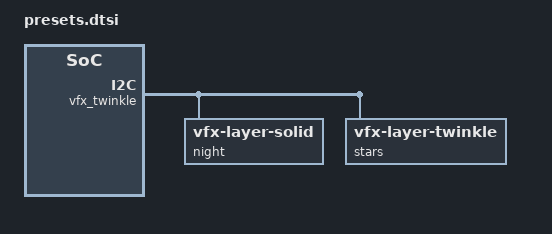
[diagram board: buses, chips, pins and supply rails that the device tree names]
/*
 * Copyright (c) 2026 The ZMK VFX Contributors
 *
 * SPDX-License-Identifier: MIT
 *
 * Ready-made scenes, so VFX is usable without authoring any devicetree.
 *
 *   #include <vfx/presets.dtsi>
 *
 *   &vfx_engine {
 *       status = "okay";
 *       default-scene = <&vfx_aurora>;
 *   };
 *
 * Zones and scenes are matched by compatible wherever they sit in the tree,
 * so these do not need to live under the engine node.
 *
 * vfx_all covers the whole strip: zone lengths are clamped to the actual
 * chain-length at runtime, so 255 means "as many pixels as this board has"
 * and the same preset works on a 10 pixel board and a 72 pixel one.
 */

#include <dt-bindings/zmk/vfx.h>

/ {
    vfx_presets {
        vfx_zones {
            vfx_all: vfx_all {
                compatible = "zmk,vfx-zone";
                range = <0 255>;
            };
        };

        vfx_solid_warm: vfx_solid_warm {
            compatible = "zmk,vfx-scene";
            display-name = "Warm";

            base {
                compatible = "zmk,vfx-layer-solid";
                zone = <&vfx_all>;
                color = <VFX_HSB(30, 85, 100)>;
            };
        };

        vfx_aurora: vfx_aurora {
            compatible = "zmk,vfx-scene";
            display-name = "Aurora";

            base {
                compatible = "zmk,vfx-layer-gradient";
                zone = <&vfx_all>;
                stops = <VFX_HSB(200, 100, 40) VFX_HSB(280, 100, 60) VFX_HSB(160, 90, 50)>;
                scroll-speed = <8>;
            };
        };

        vfx_rainbow: vfx_rainbow {
            compatible = "zmk,vfx-scene";
            display-name = "Rainbow";

            base {
                compatible = "zmk,vfx-layer-gradient";
                zone = <&vfx_all>;
                stops = <VFX_HSB(0, 100, 100) VFX_HSB(60, 100, 100) VFX_HSB(120, 100, 100)
                         VFX_HSB(180, 100, 100) VFX_HSB(240, 100, 100) VFX_HSB(300, 100, 100)>;
                scroll-speed = <14>;
            };
        };

        vfx_breathe: vfx_breathe {
            compatible = "zmk,vfx-scene";
            display-name = "Breathe";

            base {
                compatible = "zmk,vfx-layer-breathe";
                zone = <&vfx_all>;
                color = <VFX_HSB(155, 90, 100)>;
                period-ms = <4500>;
                /* Never reaches black, so the power gate stays out of it. */
                min-level = <20>;
            };
        };

        vfx_plasma: vfx_plasma {
            compatible = "zmk,vfx-scene";
            display-name = "Plasma";

            base {
                compatible = "zmk,vfx-layer-plasma";
                zone = <&vfx_all>;
                color = <VFX_HSB(275, 90, 85)>;
                scale = <14>;
                period-ms = <7000>;
                hue-spread = <70>;
            };
        };

        vfx_twinkle: vfx_twinkle {
            compatible = "zmk,vfx-scene";
            display-name = "Twinkle";

            night {
                compatible = "zmk,vfx-layer-solid";
                zone = <&vfx_all>;
                color = <VFX_HSB(235, 100, 10)>;
            };

            stars {
                compatible = "zmk,vfx-layer-twinkle";
                zone = <&vfx_all>;
                blend = <VFX_BLEND_SCREEN>;
                color = <VFX_HSB(45, 25, 100)>;
                period-ms = <1600>;
                density = <55>;
            };
        };

        /* Reactive only, so between keypresses every pixel is black and the
         * power gate cuts the rail. Typing wakes it.
         */
        vfx_reactive: vfx_reactive {
            compatible = "zmk,vfx-scene";
            display-name = "Reactive";

            ripples {
                compatible = "zmk,vfx-layer-ripple";
                zone = <&vfx_all>;
                color = <VFX_HSB(190, 40, 100)>;
                decay-ms = <700>;
                speed = <60>;
                width = <10>;
            };
        };

        /* Rain on a dark pool, which typing also disturbs. Drops from the
         * two sources are the same kind of drop, so they interfere.
         */
        vfx_water: vfx_water {
            compatible = "zmk,vfx-scene";
            display-name = "Water";

            surface {
                compatible = "zmk,vfx-layer-water";
                zone = <&vfx_all>;
                color = <VFX_HSB(205, 95, 30)>;
                crest-color = <VFX_HSB(190, 30, 100)>;
                wavelength = <20>;
                speed = <45>;
                lifetime-ms = <3200>;
                drop-rate-ms = <700>;
                amplitude = <255>;
                damping = <6>;
            };
        };

        /* No rain, so the surface is still until you type, and the still
         * water is black rather than dim: the board draws nothing at rest, so
         * the power gate cuts the rail between keypresses. Raise the colour's
         * brightness if you would rather see the water sitting there, at the
         * cost of keeping the strip powered.
         */
        vfx_water_keys: vfx_water_keys {
            compatible = "zmk,vfx-scene";
            display-name = "Water (typing)";

            surface {
                compatible = "zmk,vfx-layer-water";
                zone = <&vfx_all>;
                color = <VFX_HSB(205, 95, 0)>;
                crest-color = <VFX_HSB(185, 25, 100)>;
                wavelength = <18>;
                speed = <55>;
                lifetime-ms = <2400>;
                amplitude = <255>;
                damping = <7>;
            };
        };

        /* Columns of green falling down the board, with typing starting a
         * drop under the key you pressed. Twelve columns matches the LED
         * columns of the shipped Lily58 map.
         */
        vfx_matrix: vfx_matrix {
            compatible = "zmk,vfx-scene";
            display-name = "Matrix";

            rain {
                compatible = "zmk,vfx-layer-matrix";
                zone = <&vfx_all>;
                color = <VFX_HSB(125, 100, 55)>;
                head-color = <VFX_HSB(110, 25, 100)>;
                speed = <55>;
                tail = <34>;
                drop-rate-ms = <260>;
                columns = <12>;
                jitter = <90>;
                head-size = <9>;
            };
        };

        /* The same rain, but only where you type: a column drops in from the
         * top and lands on the key, and the board is dark between presses so
         * the power gate can cut the rail.
         *
         * It falls far quicker than the ambient rain on purpose. A drop has
         * to cross the whole board to reach a key on the bottom row, and at
         * a rain-like speed that is half a second of waiting before the key
         * you pressed lights up.
         */
        vfx_matrix_keys: vfx_matrix_keys {
            compatible = "zmk,vfx-scene";
            display-name = "Matrix (typing)";

            rain {
                compatible = "zmk,vfx-layer-matrix";
                zone = <&vfx_all>;
                color = <VFX_HSB(125, 100, 60)>;
                head-color = <VFX_HSB(110, 20, 100)>;
                speed = <150>;
                tail = <24>;
                columns = <12>;
                jitter = <0>;
                head-size = <8>;
            };
        };

        vfx_ember: vfx_ember {
            compatible = "zmk,vfx-scene";
            display-name = "Ember";

            /* A dim bed with brighter embers drifting over it, added rather
             * than replaced so the two combine instead of the top layer
             * flattening the one beneath.
             */
            bed {
                compatible = "zmk,vfx-layer-solid";
                zone = <&vfx_all>;
                color = <VFX_HSB(18, 100, 22)>;
            };

            embers {
                compatible = "zmk,vfx-layer-gradient";
                zone = <&vfx_all>;
                blend = <VFX_BLEND_ADD>;
                opacity = <200>;
                stops = <VFX_HSB(10, 100, 55) VFX_HSB(35, 100, 10)>;
                scroll-speed = <5>;
                span = <12>;
            };
        };

        /* Splits the strip into three bands and shows real state in each.
         * The zone ranges assume at least 36 pixels per half; adjust them to
         * your own strip.
         */
        vfx_status_zones {
            vfx_battery_zone: vfx_battery_zone {
                compatible = "zmk,vfx-zone";
                range = <0 6>;
            };

            vfx_profile_zone: vfx_profile_zone {
                compatible = "zmk,vfx-zone";
                range = <8 5>;
            };

            vfx_layer_zone: vfx_layer_zone {
                compatible = "zmk,vfx-zone";
                range = <30 6>;
            };
        };

        vfx_status: vfx_status {
            compatible = "zmk,vfx-scene";
            display-name = "Status";

            wash {
                compatible = "zmk,vfx-layer-solid";
                zone = <&vfx_all>;
                color = <VFX_HSB(220, 40, 6)>;
            };

            battery {
                compatible = "zmk,vfx-layer-battery";
                zone = <&vfx_battery_zone>;
                high-color = <VFX_HSB(120, 100, 70)>;
                low-color = <VFX_HSB(0, 100, 80)>;
                warn-below = <25>;
            };

            profile {
                compatible = "zmk,vfx-layer-ble-profile";
                zone = <&vfx_profile_zone>;
                connected-color = <VFX_HSB(210, 100, 80)>;
                disconnected-color = <VFX_HSB(20, 100, 50)>;
                usb-color = <VFX_HSB(120, 100, 70)>;
            };

            layers {
                compatible = "zmk,vfx-layer-layer-state";
                zone = <&vfx_layer_zone>;
                /* Base layer is black, so it draws nothing and the wash
                 * underneath shows through.
                 */
                colors = <VFX_BLACK VFX_HSB(50, 100, 70) VFX_HSB(280, 100, 70)
                          VFX_HSB(0, 100, 70)>;
            };
        };
    };
};
